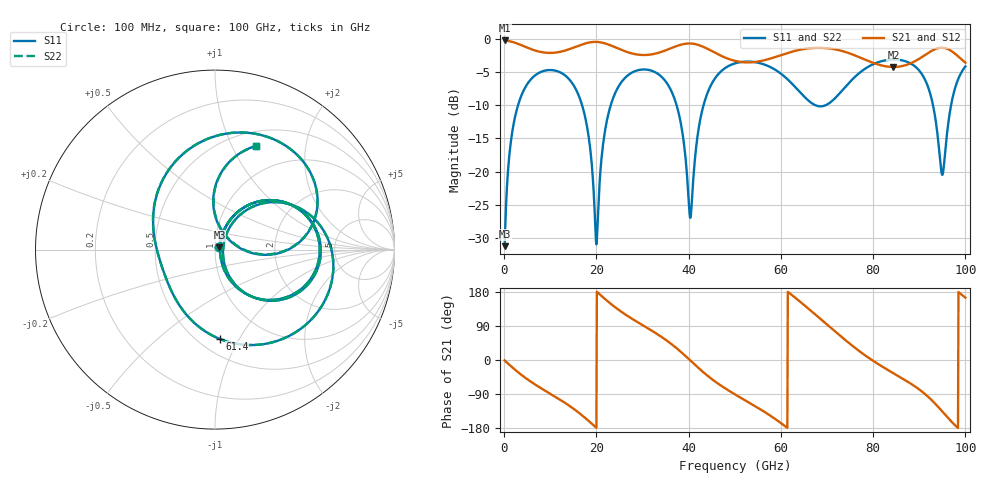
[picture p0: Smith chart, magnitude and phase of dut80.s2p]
! Touchstone file exported from HFSS 2026.1.0
!  File:  C:/ffzhzh/LocalFiles/Ansys_Project_Files/temp_train_TSV_RDL_80_1783629131_29156.aedt
!  Generated:  04:39:31 AM Jul 10, 2026
!  Design:  TSV_RDL
!  Project:  temp_train_TSV_RDL_80_1783629131_29156
! Variables:
!  h_bsmrdl = 2.48um
!  h_ox = 20um
!  h_rdl = 5um
!  h_sub = 58.6um
!  h_tmrdl = 3.86um
!  h_tsv = 58.6um
!  h_via = 3um
!  l_bsmrdl = 480.17um
!  l_sub = 3022.14um
!  l_tmrdl = 274.28um
!  m_sub = 200um
!  pitch = 43.61um
!  r_tsv = 10.81um
!  s_tmrdl = 10um
!  w_bsmrdl = 11.52um
!  w_sub = 500um
!  w_tmrdl = 16.65um
!  x_tsv_center1 = 282.605um
!  x_tsv_center2 = 774.295um
!  x_tsv_center3 = 1065.225um
!  x_tsv_center4 = 1556.915um
!  x_tsv_center5 = 1847.845um
!  x_tsv_center6 = 2339.535um
# GHz S MA R 50.000000
! Terminal data exported
! Port[1] = TM_RDL1_1_T1
! Port[2] = TM_RDL5_1_T1
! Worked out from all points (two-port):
!   1000 points, 100 MHz to 100 GHz, reference 50 ohm
!   highest |S21| = -0.22 dB at 100 MHz (marker M1); lowest = -4.2 dB at 84.4 GHz (marker M2)
!   |S21| within 3 dB of the highest: start of sweep to 49.62 GHz; 56.31 GHz to 78.62 GHz (22.31 GHz wide, 33.1 % of centre) (the widest 2 of 3)
!   lowest |S11| = -31.2 dB at 100 MHz (marker M3), VSWR 1.06, Z = 52.5 + j1.24 ohm
!   |S11| at or under -10 dB: 16.91 GHz to 23.1 GHz (6.193 GHz wide, 31 % of centre); 37.39 GHz to 43.22 GHz (5.83 GHz wide, 14.5 % of centre); 92.98 GHz to 96.89 GHz (3.907 GHz wide, 4.12 % of centre) (the widest 3 of 5)
!   |S22| runs from -31.2 to -3.1 dB; largest |S21 - S12| = 9.3e-14
!   S11 on the Smith chart (normalised r, x): 100 MHz: 1.05, +0.02; 61.4 GHz: 0.63, -0.83; 100 GHz: 0.66, +1.24
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0.1  0.02741 25.6  0.9754 -1.2  0.9754 -1.2  0.02741 25.6
! Gamma 0 0 0 0
! Port Impedance 50 0 50 0
1.8  0.2036 62.1  0.9505 -19.8  0.9505 -19.8  0.2036 62.1
4.8  0.4454 37.6  0.8667 -48.8  0.8667 -48.8  0.4454 37.6
10.6  0.5817 -5.0  0.7871 -93.5  0.7871 -93.5  0.5817 -5.0
16.8  0.3251 -52.7  0.9081 -145.1  0.9081 -145.1  0.325 -52.7
20  0.02831 0.9  0.9512 -178.9  0.9512 -178.9  0.02816 1.1
21.7  0.1864 62.8  0.9304 162.7  0.9304 162.7  0.1865 62.8
23.9  0.3789 45.9  0.872 140.7  0.872 140.7  0.3789 45.9
33.4  0.5443 -22.7  0.7862 66.7  0.7862 66.7  0.5443 -22.7
37.7  0.2889 -55.7  0.8925 28.0  0.8925 28.0  0.2888 -55.7
40.4  0.04487 3.2  0.9254 -1.6  0.9254 -1.6  0.04495 3.3
43.6  0.3507 45.9  0.8598 -36.5  0.8598 -36.5  0.3508 45.9
50.1  0.6561 -2.9  0.6838 -91.0  0.6838 -91.0  0.6561 -2.9
61.4  0.4985 -87.0  0.7838 -179.2  0.7838 -179.2  0.4986 -86.9
66.7  0.3282 -140.3  0.8544 128.0  0.8544 128.0  0.3283 -140.1
70.8  0.3345 173.4  0.8464 85.2  0.8464 85.2  0.3346 173.7
75.3  0.4883 126.1  0.7701 39.5  0.7701 39.5  0.4882 126.4
83.4  0.6969 61.3  0.6184 -27.8  0.6184 -27.8  0.6969 61.5
84.4  0.7003 54.7  0.6157 -34.9  0.6157 -34.9  0.7003 54.9
91.4  0.4807 5.8  0.7632 -91.4  0.7632 -91.4  0.481 6.1
95  0.09447 43.9  0.861 -136.0  0.861 -136.0  0.0971 44.0
100  0.6208 68.5  0.6633 164.6  0.6633 164.6  0.621 68.4
